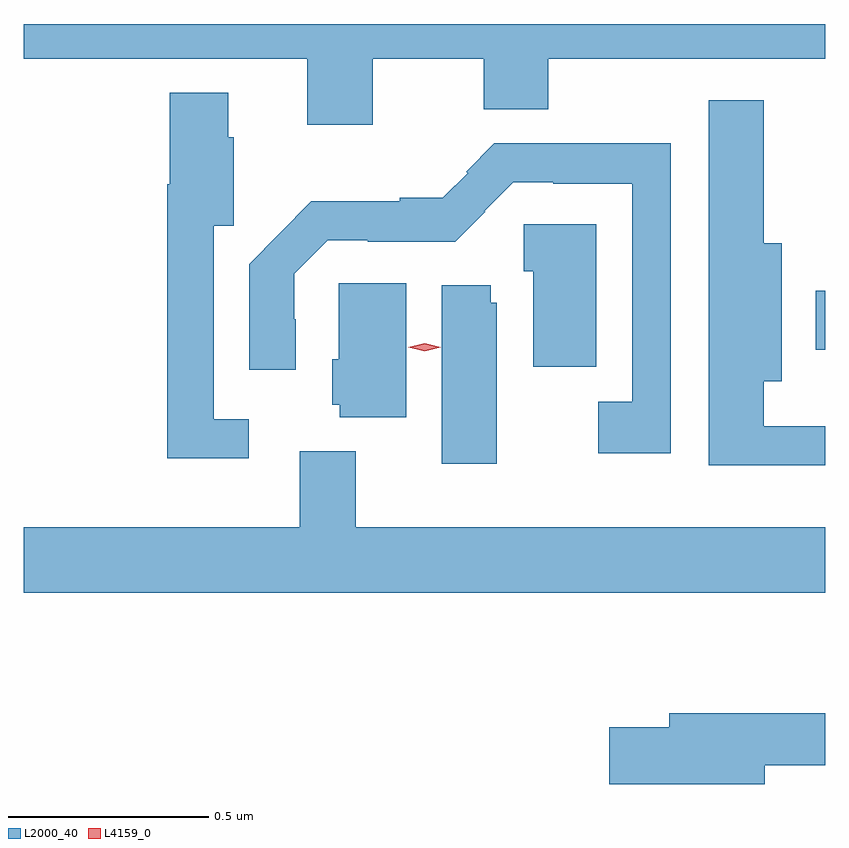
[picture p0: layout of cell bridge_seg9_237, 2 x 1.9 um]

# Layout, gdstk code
import gdstk
lib = gdstk.Library(unit=1e-6, precision=1e-09)
def R(c, l, rs):  # rectangles x0, y0, x1, y1
    for r in rs: c.add(gdstk.rectangle(r[:2], r[2:], *l))
def P(c, l, *ps):  # polygons
    for p in ps: c.add(gdstk.Polygon(p, *l))
L2000_40 = (2000, 40)
L4159_0 = (4159, 0)

bridge_seg9_237 = lib.new_cell('bridge_seg9_237')
R(bridge_seg9_237, L2000_40, [(360.323,1219.67,360.347,1219.818)])
P(bridge_seg9_237, L2000_40, [(359.218,1220.396),(359.495,1220.396),(359.495,1220.27),(359.656,1220.27),(359.656,1220.396),(360.347,1220.396),(360.347,1220.483),(358.347,1220.483),(358.347,1220.396),(359.054,1220.396),(359.054,1220.232),(359.218,1220.232)],
  [(358.909,1219.497),(358.821,1219.497),(358.821,1219.98),(358.871,1219.98),(358.871,1220.201),(358.858,1220.201),(358.858,1220.311),(358.712,1220.311),(358.712,1220.083),(358.705,1220.083),(358.705,1219.4),(358.909,1219.4)],
  [(360.347,1219.479),(360.193,1219.479),(360.193,1219.592),(360.238,1219.592),(360.238,1219.936),(360.193,1219.936),(360.193,1220.293),(360.056,1220.293),(360.056,1219.382),(360.347,1219.382)],
  [(359.961,1220.185),(359.521,1220.185),(359.451,1220.115),(359.455,1220.111),(359.393,1220.049),(359.285,1220.049),(359.285,1220.041),(359.065,1220.041),(358.984,1219.959),(358.984,1219.958),(358.91,1219.884),(358.91,1219.62),(359.026,1219.62),(359.026,1219.747),(359.022,1219.747),(359.022,1219.86),(359.106,1219.944),(359.206,1219.944),(359.206,1219.94),(359.424,1219.94),(359.498,1220.014),(359.496,1220.016),(359.568,1220.088),(359.668,1220.088),(359.668,1220.084),(359.865,1220.084),(359.865,1219.54),(359.781,1219.54),(359.781,1219.412),(359.961,1219.412)],
  [(359.776,1219.983),(359.595,1219.983),(359.595,1219.866),(359.618,1219.866),(359.618,1219.628),(359.776,1219.628)],
  [(359.302,1219.836),(359.133,1219.836),(359.133,1219.647),(359.117,1219.647),(359.117,1219.533),(359.136,1219.533),(359.136,1219.502),(359.302,1219.502)],
  [(359.527,1219.788),(359.512,1219.788),(359.512,1219.831),(359.39,1219.831),(359.39,1219.386),(359.527,1219.386)],
  [(360.347,1219.228),(359.176,1219.228),(359.176,1219.417),(359.036,1219.417),(359.036,1219.228),(358.347,1219.228),(358.347,1219.064),(360.347,1219.064)],
  [(360.196,1218.634),(360.347,1218.634),(360.347,1218.763),(359.957,1218.763),(359.957,1218.729),(359.808,1218.729),(359.808,1218.587),(360.196,1218.587)])
P(bridge_seg9_237, L4159_0, [(359.347,1219.667),(359.306,1219.677),(359.305,1219.677),(359.306,1219.677),(359.347,1219.687),(359.388,1219.677),(359.388,1219.676),(359.388,1219.676)])

lib.write_gds('bridge_seg9_237.gds')
